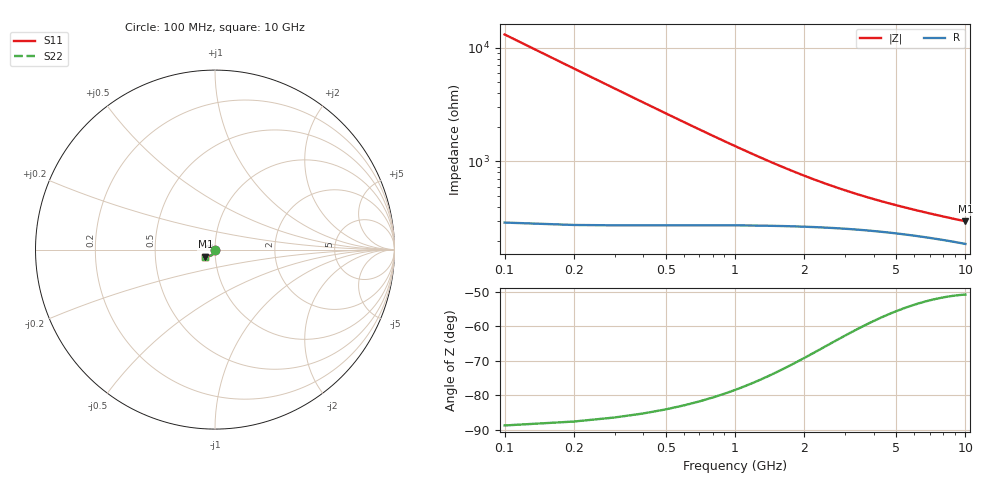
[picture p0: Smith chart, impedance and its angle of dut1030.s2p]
! Touchstone file exported from HFSS 2024.1.0
!  File:  C:/UserFiles/LocalFiles/RDL_TSV_Batchsim/temp_TSV1_1030_1780060630.aedt
!  Generated:  09:20:58 PM May 29, 2026
!  Design:  TSV1
!  Project:  temp_TSV1_1030_1780060630
!  Setup:  Setup1
!  Solution:  Sweep
! Variables:
!  dtsv = 14.97um
!  hbump = 3um
!  htsv = 66.19um
!  lrdl = 252.1521522um
!  p = 40
!  p1 = 40.58um
!  t = 500um
!  trdl = 3um
!  wrdl = 24.89489489um
# GHz S MA R 50.000000
! Terminal data exported
! Port[1] = TSV22_T1
! Port[2] = TSV22_T2
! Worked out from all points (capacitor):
!   100 points, 100 MHz to 10 GHz, reference 50 ohm
!   read as one part in shunt: C = 121 fF near 100 MHz
!   lowest |Z| = 296 ohm at 10 GHz (marker M1)
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0.1  0.00166 -88.8  0.9999 -0.1  0.9999 -0.1  0.00166 -88.8
! Gamma 0 0 0 0
! Port Impedance 50 0 50 0
0.2  0.003314 -91.6  0.9998 -0.2  0.9998 -0.2  0.003314 -91.6
0.3  0.004961 -93.4  0.9995 -0.4  0.9995 -0.4  0.004961 -93.4
0.4  0.006597 -95.1  0.9993 -0.5  0.9993 -0.5  0.006597 -95.1
0.5  0.008218 -96.6  0.9989 -0.6  0.9989 -0.6  0.008218 -96.6
0.6  0.009822 -98.1  0.9984 -0.7  0.9984 -0.7  0.009822 -98.1
0.7  0.0114 -99.6  0.9979 -0.8  0.9979 -0.8  0.0114 -99.6
0.8  0.01296 -101.0  0.9974 -0.9  0.9974 -0.9  0.01296 -101.0
0.9  0.01449 -102.3  0.9967 -1.1  0.9967 -1.1  0.01449 -102.3
1.1  0.01746 -104.9  0.9953 -1.3  0.9953 -1.3  0.01746 -104.9
1.4  0.02166 -108.6  0.9929 -1.5  0.9929 -1.5  0.02166 -108.6
1.6  0.02427 -110.9  0.9911 -1.7  0.9911 -1.7  0.02427 -110.9
1.8  0.02673 -113.1  0.9893 -1.9  0.9893 -1.9  0.02673 -113.1
2.1  0.03014 -116.1  0.9866 -2.1  0.9866 -2.1  0.03014 -116.1
2.5  0.03418 -119.6  0.9831 -2.3  0.9831 -2.3  0.03418 -119.6
2.9  0.03772 -122.7  0.9797 -2.6  0.9797 -2.6  0.03772 -122.7
3.4  0.04153 -126.0  0.9758 -2.8  0.9758 -2.8  0.04153 -126.0
4.2  0.04654 -130.2  0.9702 -3.1  0.9702 -3.1  0.04654 -130.2
5.1  0.05106 -133.8  0.965 -3.4  0.965 -3.4  0.05106 -133.8
6.7  0.05723 -138.3  0.9577 -3.9  0.9577 -3.9  0.05724 -138.3
8.4  0.06219 -141.5  0.9519 -4.3  0.9519 -4.3  0.06219 -141.5
10  0.06584 -143.8  0.9477 -4.8  0.9477 -4.8  0.06584 -143.8
